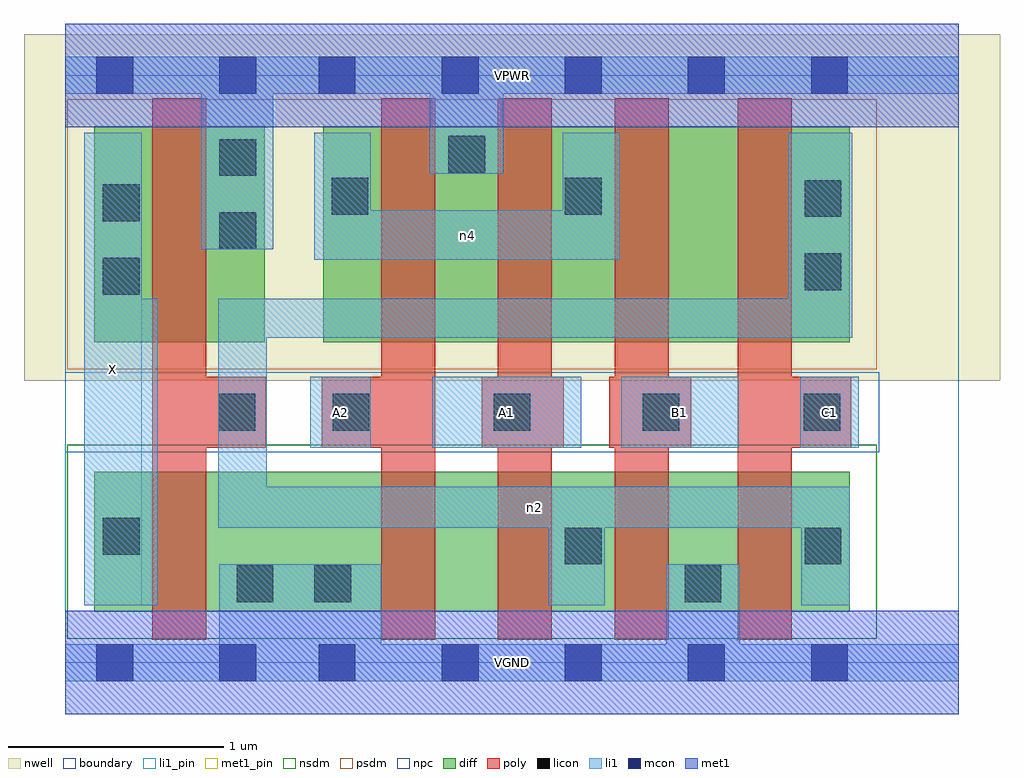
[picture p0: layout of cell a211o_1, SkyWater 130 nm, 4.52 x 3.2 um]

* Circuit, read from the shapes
.subckt a211o_1 A1 A2 B1 C1 VGND VPWR X n2 n4
XM1 VGND n2 X VSUBS sky130_fd_pr__nfet_01v8 w=0.65 l=0.25
XM2 n1 A2 VGND VSUBS sky130_fd_pr__nfet_01v8 w=0.65 l=0.25
XM3 n2 A1 n1 VSUBS sky130_fd_pr__nfet_01v8 w=0.65 l=0.25
XM4 VGND B1 n2 VSUBS sky130_fd_pr__nfet_01v8 w=0.65 l=0.25
XM5 n2 C1 VGND VSUBS sky130_fd_pr__nfet_01v8 w=0.65 l=0.25
XM6 VPWR n2 X n3 sky130_fd_pr__pfet_01v8 w=1 l=0.25
XM7 VPWR A2 n4 n3 sky130_fd_pr__pfet_01v8 w=1 l=0.25
XM8 n4 A1 VPWR n3 sky130_fd_pr__pfet_01v8 w=1 l=0.25
XM9 n5 B1 n4 n3 sky130_fd_pr__pfet_01v8 w=1 l=0.25
XM10 n2 C1 n5 n3 sky130_fd_pr__pfet_01v8 w=1 l=0.25
.ends

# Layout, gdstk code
import gdstk
lib = gdstk.Library(unit=1e-6, precision=1e-09)
def R(c, l, rs):  # rectangles x0, y0, x1, y1
    for r in rs: c.add(gdstk.rectangle(r[:2], r[2:], *l))
def A(c, l, x, y, w, h, nx, ny, dx, dy):  # array of equal rectangles
    R(c, l, [(x+i*dx, y+j*dy, x+i*dx+w, y+j*dy+h) for i in range(nx) for j in range(ny)])
nwell = (64, 20)
diff = (65, 20)
poly = (66, 20)
licon = (66, 44)
li1_pin = (67, 16)
li1 = (67, 20)
mcon = (67, 44)
met1_pin = (68, 16)
met1 = (68, 20)
nsdm = (93, 44)
psdm = (94, 20)
npc = (95, 20)
boundary = (235, 4)

a211o_1 = lib.new_cell('a211o_1')
R(a211o_1, nwell, [(-0.19,1.305,4.33,2.91), (0,1.305,4.14,2.91)])
R(a211o_1, diff, [(0.135,0.235,3.635,0.885), (0.135,1.485,0.925,2.485), (1.195,1.485,3.635,2.485)])
A(a211o_1, poly, 1.465, 0.105, 0.25, 2.51, 3, 1, 0.54, 0)
R(a211o_1, poly, [(0.405,0.105,0.655,2.615), (3.115,0.105,3.365,2.615), (0.405,0.995,0.93,1.325), (1.19,0.995,1.715,1.325), (1.93,0.995,2.31,1.325), (2.52,0.995,2.9,1.325), (3.115,0.995,3.64,1.325)])
R(a211o_1, licon, [(0.795,0.28,0.965,0.45), (1.155,0.28,1.325,0.45), (2.87,0.28,3.04,0.45), (2.315,0.455,2.485,0.625), (3.425,0.455,3.595,0.625), (0.175,0.5,0.345,0.67), (0.71,1.075,0.88,1.245), (1.24,1.075,1.41,1.245), (1.985,1.075,2.155,1.245), (2.675,1.075,2.845,1.245), (3.42,1.075,3.59,1.245), (0.175,1.705,0.345,1.875), (3.425,1.725,3.595,1.895), (0.715,1.915,0.885,2.085), (0.175,2.045,0.345,2.215), (3.425,2.065,3.595,2.235), (1.235,2.075,1.405,2.245), (2.315,2.075,2.485,2.245), (0.715,2.255,0.885,2.425), (1.775,2.27,1.945,2.44)])
R(a211o_1, li1_pin, [(0.09,0.265,0.355,2.455), (1.135,0.995,1.415,1.325), (1.7,0.995,2.39,1.325), (2.575,0.995,3.12,1.325), (3.405,0.995,3.675,1.325)])
R(a211o_1, li1, [(0,-0.085,4.14,0.085), (0.715,-0.085,1.465,0.455), (2.785,-0.085,3.125,0.455), (0.09,0.265,0.355,2.455), (0.09,0.265,0.43,1.685), (2.24,0.265,2.5,0.815), (3.41,0.265,3.635,0.815), (0.71,0.625,3.635,0.815), (0.71,0.625,0.935,1.685), (1.135,0.995,1.415,1.325), (1.7,0.995,2.39,1.325), (2.575,0.995,3.12,1.325), (3.405,0.995,3.675,1.325), (0.71,1.505,3.645,1.685), (3.35,1.505,3.645,2.455), (1.155,1.865,2.57,2.095), (1.155,1.865,1.415,2.455), (2.305,1.865,2.57,2.455), (0.63,1.915,0.965,2.805), (1.69,2.265,2.03,2.805), (0,2.635,4.14,2.805)])
A(a211o_1, mcon, 1.175, -0.085, 0.17, 0.17, 5, 2, 0.57, 2.72)
R(a211o_1, mcon, [(0.145,-0.085,0.315,0.085), (0.715,-0.085,0.885,0.085), (0.145,2.635,0.315,2.805), (0.715,2.635,0.885,2.805)])
R(a211o_1, met1_pin, [(0,-0.24,4.14,0.24), (0,2.48,4.14,2.96)])
R(a211o_1, met1, [(0,-0.24,4.14,0.24), (0,2.48,4.14,2.96)])
R(a211o_1, nsdm, [(0.01,0.11,3.76,1.01)])
R(a211o_1, psdm, [(0.01,1.36,3.76,2.61)])
R(a211o_1, npc, [(0,0.975,3.77,1.345)])
R(a211o_1, boundary, [(0,0,4.14,2.72)])
a211o_1.add(gdstk.Label('A1', (2.045,1.16), layer=67, texttype=5))
a211o_1.add(gdstk.Label('A2', (1.275,1.16), layer=67, texttype=5))
a211o_1.add(gdstk.Label('B1', (2.847,1.16), layer=67, texttype=5))
a211o_1.add(gdstk.Label('C1', (3.54,1.16), layer=67, texttype=5))
a211o_1.add(gdstk.Label('X', (0.222,1.36), layer=67, texttype=5))
a211o_1.add(gdstk.Label('n4', (1.862,1.98), layer=67, texttype=5))
a211o_1.add(gdstk.Label('n2', (2.172,0.72), layer=67, texttype=5))
a211o_1.add(gdstk.Label('VPWR', (2.07,2.72), layer=68, texttype=5))
a211o_1.add(gdstk.Label('VGND', (2.07,0), layer=68, texttype=5))
a211o_1.add(gdstk.Label('A1', (2.045,1.16), layer=67, texttype=16))
a211o_1.add(gdstk.Label('A2', (1.275,1.16), layer=67, texttype=16))
a211o_1.add(gdstk.Label('B1', (2.847,1.16), layer=67, texttype=16))
a211o_1.add(gdstk.Label('C1', (3.54,1.16), layer=67, texttype=16))
a211o_1.add(gdstk.Label('X', (0.222,1.36), layer=67, texttype=16))
a211o_1.add(gdstk.Label('VPWR', (2.07,2.72), layer=68, texttype=16))
a211o_1.add(gdstk.Label('VGND', (2.07,0), layer=68, texttype=16))

lib.write_gds('a211o_1.gds')
